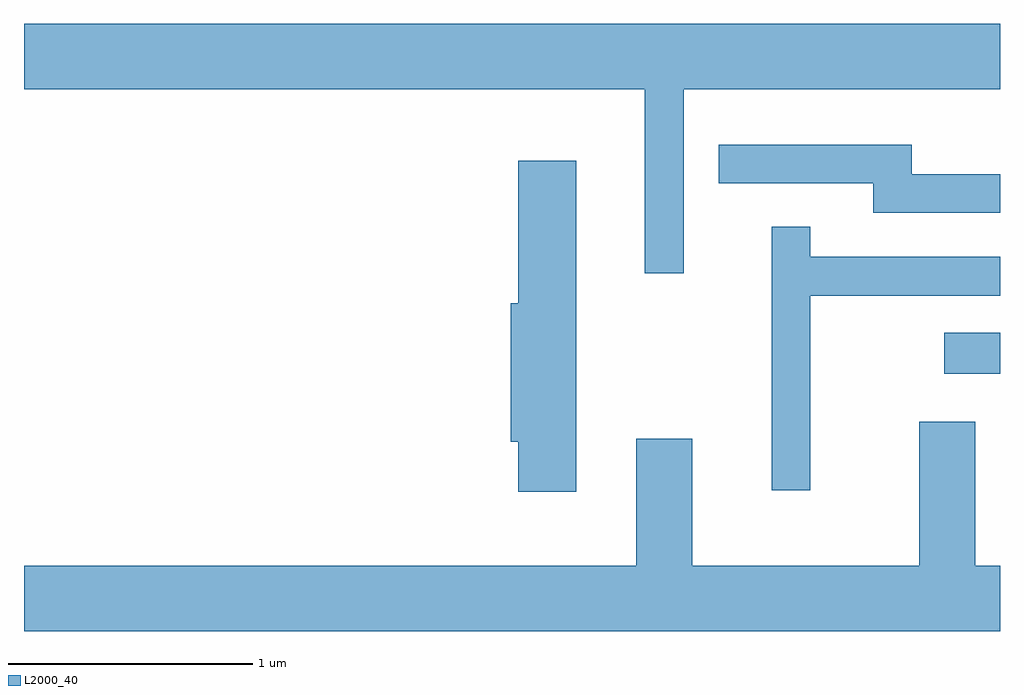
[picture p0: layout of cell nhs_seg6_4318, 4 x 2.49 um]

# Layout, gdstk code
import gdstk
lib = gdstk.Library(unit=1e-6, precision=1e-09)
def R(c, l, rs):  # rectangles x0, y0, x1, y1
    for r in rs: c.add(gdstk.rectangle(r[:2], r[2:], *l))
def P(c, l, *ps):  # polygons
    for p in ps: c.add(gdstk.Polygon(p, *l))
L2000_40 = (2000, 40)

nhs_seg6_4318 = lib.new_cell('nhs_seg6_4318')
R(nhs_seg6_4318, L2000_40, [(321.383,1557.751,321.611,1557.919)])
P(nhs_seg6_4318, L2000_40, [(320.314,1558.916),(321.611,1558.916),(321.611,1559.184),(317.611,1559.184),(317.611,1558.916),(320.156,1558.916),(320.156,1558.163),(320.314,1558.163)],
  [(321.611,1558.569),(321.249,1558.569),(321.249,1558.689),(320.458,1558.689),(320.458,1558.531),(321.091,1558.531),(321.091,1558.411),(321.611,1558.411)],
  [(319.874,1558.624),(319.636,1558.624),(319.636,1558.039),(319.606,1558.039),(319.606,1557.471),(319.636,1557.471),(319.636,1557.266),(319.874,1557.266)],
  [(320.834,1558.071),(321.611,1558.071),(321.611,1558.229),(320.834,1558.229),(320.834,1558.353),(320.676,1558.353),(320.676,1557.273),(320.834,1557.273)],
  [(321.611,1556.964),(321.509,1556.964),(321.509,1557.554),(321.281,1557.554),(321.281,1556.964),(320.349,1556.964),(320.349,1557.484),(320.121,1557.484),(320.121,1556.964),(317.611,1556.964),(317.611,1556.696),(321.611,1556.696)])

lib.write_gds('nhs_seg6_4318.gds')
